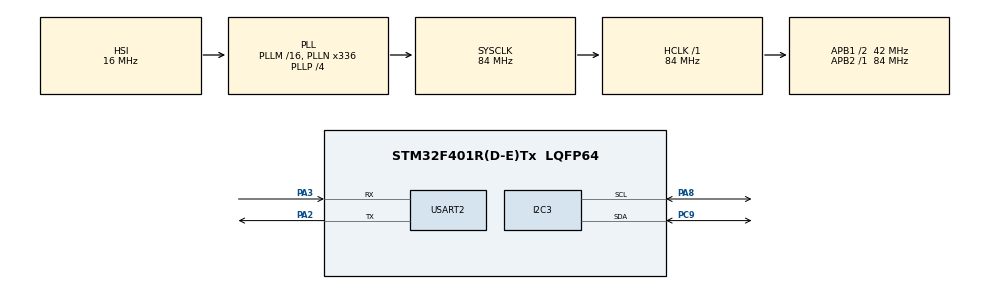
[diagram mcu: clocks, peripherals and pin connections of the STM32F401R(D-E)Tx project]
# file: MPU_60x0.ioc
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I2C3.DutyCycle=I2C_DUTYCYCLE_16_9
I2C3.I2C_Mode=I2C_Fast
Mcu.Family=STM32F4
Mcu.Name=STM32F401R(D-E)Tx
Mcu.Package=LQFP64
NVIC.PriorityGroup=NVIC_PRIORITYGROUP_0
PA2.Mode=Asynchronous
PA2.Signal=USART2_TX
PA3.Mode=Asynchronous
PA3.Signal=USART2_RX
PA8.Mode=I2C
PA8.Signal=I2C3_SCL
PC9.Mode=I2C
PC9.Signal=I2C3_SDA
ProjectManager.HeapSize=0x200
ProjectManager.StackSize=0x400
ProjectManager.TargetToolchain=STM32CubeIDE
RCC.48MHZClocksFreq_Value=48000000
RCC.AHBFreq_Value=84000000
RCC.APB1CLKDivider=RCC_HCLK_DIV2
RCC.APB1Freq_Value=42000000
RCC.APB1TimFreq_Value=84000000
RCC.APB2Freq_Value=84000000
RCC.APB2TimFreq_Value=84000000
RCC.CortexFreq_Value=84000000
RCC.HCLKFreq_Value=84000000
RCC.HSE_VALUE=8000000
RCC.HSI_VALUE=16000000
RCC.LSE_VALUE=32768
RCC.PLLN=336
RCC.PLLP=RCC_PLLP_DIV4
RCC.PLLQ=7
RCC.SYSCLKFreq_VALUE=84000000
RCC.SYSCLKSource=RCC_SYSCLKSOURCE_PLLCLK
RCC.VCOOutputFreq_Value=336000000
USART2.VirtualMode=VM_ASYNC
board=NUCLEO-F401RE

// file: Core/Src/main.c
/* USER CODE BEGIN Header */
/**
  ******************************************************************************
  * @file           : main.c
  * @brief          : Main program body
  ******************************************************************************
  * @attention
  *
  * Copyright (c) 2023 STMicroelectronics.
  * All rights reserved.
  *
  * This software is licensed under terms that can be found in the LICENSE file
  * in the root directory of this software component.
  * If no LICENSE file comes with this software, it is provided AS-IS.
  *
  ******************************************************************************
  */
/* USER CODE END Header */
#include "main.h"
#include "i2c.h"
#include "usart.h"
#include "gpio.h"

/* USER CODE BEGIN Includes */
#include "i2c_tools.h"
#include "uart_tools.h"
#include "mpu60x0.h"
#include <stdio.h>
/* USER CODE END Includes */

void SystemClock_Config(void);

int main(void)
{
  /* USER CODE BEGIN 1 */
	uint8_t who_am_i;
  /* USER CODE END 1 */

  /* MCU Configuration--------------------------------------------------------*/

  /* Reset of all peripherals, Initializes the Flash interface and the Systick. */
  HAL_Init();

  /* Configure the system clock */
  SystemClock_Config();

  /* Initialize all configured peripherals */
  MX_GPIO_Init();
  MX_USART2_UART_Init();
  MX_I2C3_Init();
  /* USER CODE BEGIN 2 */
  i2c_ports_scan(&hi2c3,&huart2,HAL_MAX_DELAY,3);
  HAL_Delay(1000);
  MPU60X0_I2C_who_am_i(&hi2c3,&who_am_i,HAL_I2C_Mem_Read,100);
  char msg[100];
  sprintf(msg,"Lettura registro who am i:\t0x%x",who_am_i);
  UART_TransmitString(&huart2, msg, 100);
  uint8_t ret = MPU60X0_I2C_reset(&hi2c3, HAL_I2C_Mem_Read, HAL_I2C_Mem_Write, 100);
  if(ret == HAL_OK){
	  UART_TransmitString(&huart2, "\r\nDEVICE RESET OK!", 100);
  } else {
	  UART_TransmitString(&huart2, "\r\nDEVICE RESET ERROR!", 100);
  }
  /* USER CODE END 2 */

  /* Infinite loop */
  while (1)
  {

  }
}

void SystemClock_Config(void)
{
  RCC_OscInitTypeDef RCC_OscInitStruct = {0};
  RCC_ClkInitTypeDef RCC_ClkInitStruct = {0};

  /** Configure the main internal regulator output voltage
  */
  __HAL_RCC_PWR_CLK_ENABLE();
  __HAL_PWR_VOLTAGESCALING_CONFIG(PWR_REGULATOR_VOLTAGE_SCALE2);

  /** Initializes the RCC Oscillators according to the specified parameters
  * in the RCC_OscInitTypeDef structure.
  */
  RCC_OscInitStruct.OscillatorType = RCC_OSCILLATORTYPE_HSI;
  RCC_OscInitStruct.HSIState = RCC_HSI_ON;
  RCC_OscInitStruct.HSICalibrationValue = RCC_HSICALIBRATION_DEFAULT;
  RCC_OscInitStruct.PLL.PLLState = RCC_PLL_ON;
  RCC_OscInitStruct.PLL.PLLSource = RCC_PLLSOURCE_HSI;
  RCC_OscInitStruct.PLL.PLLM = 16;
  RCC_OscInitStruct.PLL.PLLN = 336;
  RCC_OscInitStruct.PLL.PLLP = RCC_PLLP_DIV4;
  RCC_OscInitStruct.PLL.PLLQ = 7;
  if (HAL_RCC_OscConfig(&RCC_OscInitStruct) != HAL_OK)
  {
    Error_Handler();
  }

  /** Initializes the CPU, AHB and APB buses clocks
  */
  RCC_ClkInitStruct.ClockType = RCC_CLOCKTYPE_HCLK|RCC_CLOCKTYPE_SYSCLK
                              |RCC_CLOCKTYPE_PCLK1|RCC_CLOCKTYPE_PCLK2;
  RCC_ClkInitStruct.SYSCLKSource = RCC_SYSCLKSOURCE_PLLCLK;
  RCC_ClkInitStruct.AHBCLKDivider = RCC_SYSCLK_DIV1;
  RCC_ClkInitStruct.APB1CLKDivider = RCC_HCLK_DIV2;
  RCC_ClkInitStruct.APB2CLKDivider = RCC_HCLK_DIV1;

  if (HAL_RCC_ClockConfig(&RCC_ClkInitStruct, FLASH_LATENCY_2) != HAL_OK)
  {
    Error_Handler();
  }
}

void Error_Handler(void)
{
  __disable_irq();
  while (1)
  {
  }
}
